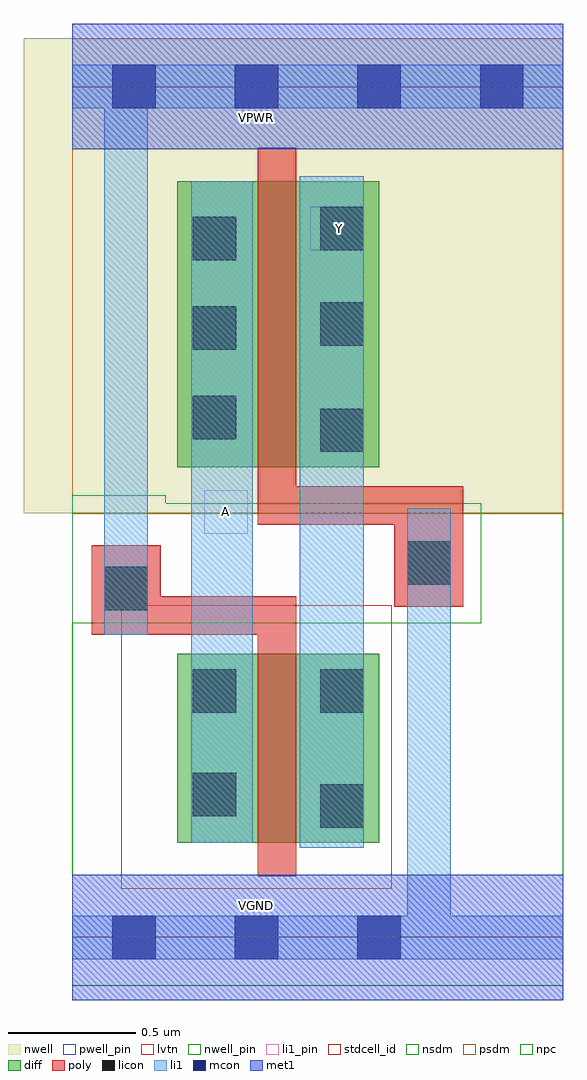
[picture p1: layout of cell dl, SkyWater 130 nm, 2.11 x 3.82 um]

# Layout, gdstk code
import gdstk
lib = gdstk.Library(unit=1e-6, precision=1e-09)
def R(c, l, rs):  # rectangles x0, y0, x1, y1
    for r in rs: c.add(gdstk.rectangle(r[:2], r[2:], *l))
def A(c, l, x, y, w, h, nx, ny, dx, dy):  # array of equal rectangles
    R(c, l, [(x+i*dx, y+j*dy, x+i*dx+w, y+j*dy+h) for i in range(nx) for j in range(ny)])
def P(c, l, *ps):  # polygons
    for p in ps: c.add(gdstk.Polygon(p, *l))
nwell_pin = (64, 16)
nwell = (64, 20)
diff = (65, 20)
poly = (66, 20)
licon = (66, 44)
li1_pin = (67, 16)
li1 = (67, 20)
mcon = (67, 44)
met1 = (68, 20)
stdcell_id = (81, 4)
nsdm = (93, 44)
psdm = (94, 20)
npc = (95, 20)
pwell_pin = (122, 16)
lvtn = (125, 44)

c_dl = lib.new_cell('dl')
R(c_dl, nwell_pin, [(0,3.085,1.92,3.33)])
R(c_dl, nwell, [(-0.19,1.66,1.92,3.52)])
R(c_dl, diff, [(0.41,0.37,1.2,1.11), (0.41,1.84,1.2,2.96)])
R(c_dl, poly, [(0.725,0.24,0.875,1.3), (0.075,1.185,0.875,1.335), (0.075,1.23,0.345,1.535), (1.26,1.295,1.53,1.655), (0.725,1.615,0.875,3.09), (0.725,1.615,1.53,1.765)])
A(c_dl, licon, 0.47, 1.95, 0.17, 0.17, 1, 3, 0, 0.35)
R(c_dl, licon, [(0.97,0.43,1.14,0.6), (0.47,0.475,0.64,0.645), (0.47,0.88,0.64,1.05), (0.97,0.88,1.14,1.05), (0.125,1.28,0.295,1.45), (1.31,1.38,1.48,1.55), (0.97,1.9,1.14,2.07), (0.97,2.315,1.14,2.485), (0.97,2.69,1.14,2.86)])
R(c_dl, li1_pin, [(0.515,1.58,0.685,1.75), (0.93,2.69,1.1,2.86)])
R(c_dl, li1, [(0,-0.085,1.92,0.085), (1.31,-0.085,1.48,1.68), (0.89,0.35,1.14,2.98), (0.465,0.37,0.705,2.96), (0.125,1.185,0.295,3.245), (0,3.245,1.92,3.415)])
A(c_dl, mcon, 0.155, -0.085, 0.17, 0.17, 3, 2, 0.48, 3.33)
R(c_dl, mcon, [(1.115,3.245,1.285,3.415), (1.595,3.245,1.765,3.415)])
R(c_dl, met1, [(0,-0.245,1.92,0.245), (0,3.085,1.92,3.575)])
R(c_dl, stdcell_id, [(0,0,1.92,3.33)])
R(c_dl, nsdm, [(0,-0.19,1.92,1.66)])
R(c_dl, psdm, [(0,1.66,1.92,3.52)])
P(c_dl, npc, [(0,1.23),(0,1.73),(0.365,1.73),(0.365,1.7),(1.6,1.7),(1.6,1.23)])
R(c_dl, pwell_pin, [(0,0,1.92,0.245)])
R(c_dl, lvtn, [(0.19,0.19,1.25,1.3)])
c_dl.add(gdstk.Label('VPWR', (0.72,3.208), layer=68, texttype=5))
c_dl.add(gdstk.Label('VGND', (0.72,0.123), layer=68, texttype=5))
c_dl.add(gdstk.Label('VNB', (0.72,0.123), layer=64, texttype=59))
c_dl.add(gdstk.Label('VPB', (0.72,3.208), layer=64, texttype=5))
c_dl.add(gdstk.Label('Y', (1.045,2.775), layer=67, texttype=5))
c_dl.add(gdstk.Label('A', (0.6,1.665), layer=67, texttype=5))

lib.write_gds('dl.gds')
